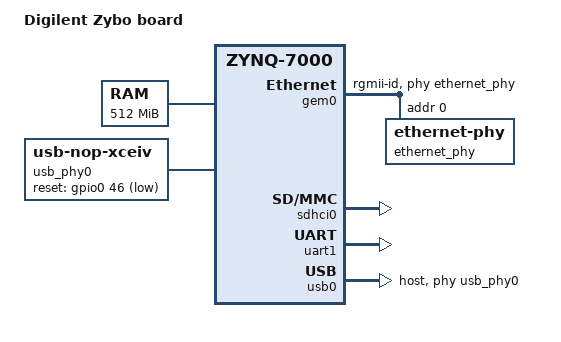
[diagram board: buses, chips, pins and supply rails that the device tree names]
// SPDX-License-Identifier: GPL-2.0
/*
 *  Copyright (C) 2011 - 2014 Xilinx
 *  Copyright (C) 2012 National Instruments Corp.
 */
/dts-v1/;
#include "zynq-7000.dtsi"

/ {
	model = "Digilent Zybo board";
	compatible = "digilent,zynq-zybo", "xlnx,zynq-7000";

	aliases {
		ethernet0 = &gem0;
		serial0 = &uart1;
		mmc0 = &sdhci0;
	};

	memory@0 {
		device_type = "memory";
		reg = <0x0 0x20000000>;
	};

	chosen {
		bootargs = "";
		stdout-path = "serial0:115200n8";
	};

	usb_phy0: phy0 {
		#phy-cells = <0>;
		compatible = "usb-nop-xceiv";
		reset-gpios = <&gpio0 46 1>;
	};
};

&clkc {
	ps-clk-frequency = <50000000>;
};

&gem0 {
	status = "okay";
	phy-mode = "rgmii-id";
	phy-handle = <&ethernet_phy>;

	ethernet_phy: ethernet-phy@0 {
		reg = <0>;
		device_type = "ethernet-phy";
	};
};

&sdhci0 {
	status = "okay";
};

&uart1 {
	status = "okay";
};

&usb0 {
	status = "okay";
	dr_mode = "host";
	usb-phy = <&usb_phy0>;
};
